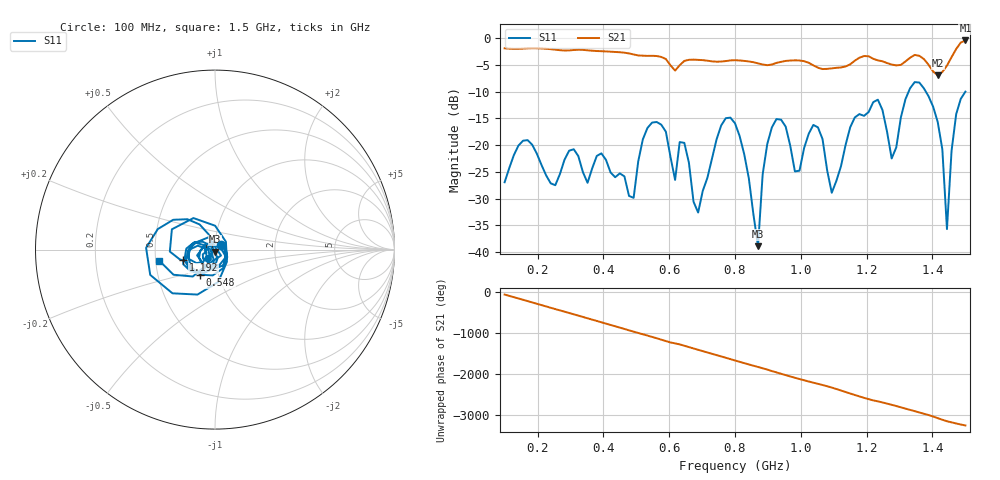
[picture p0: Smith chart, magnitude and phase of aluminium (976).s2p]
! NanoVNA-App
! Date: 2025-09-25 15:02:53
! Start: 100MHz Stop: 1,5GHz Points: 101
! S-Parameter data: F S11 S21 S12 S22
# Hz S RI R 50
!  Frequency  S11_Real  S11_Imag  S21_Real  S21_Imag  S12_Real  S12_Imag  S22_Real  S22_Imag
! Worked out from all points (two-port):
!   101 points, 100 MHz to 1.5 GHz, reference 50 ohm
!   highest |S21| = -0.45 dB at 1.5 GHz (marker M1); lowest = -7.0 dB at 1.416 GHz (marker M2)
!   |S21| within 3 dB of the highest: start of sweep to 569.2 MHz; 1.459 GHz to end of sweep (the widest 2 of 4)
!   lowest |S11| = -38.9 dB at 870 MHz (marker M3), VSWR 1.02, Z = 50.2 - j1.12 ohm
!   |S11| at or under -10 dB: start of sweep to 1.328 GHz; 1.38 GHz to end of sweep
!   S12 and S22 are empty: the file has one direction only
!   S11 on the Smith chart (normalised r, x): 100 MHz: 1.07, +0.06; 548 MHz: 0.82, -0.24; 1.192 GHz: 0.69, -0.09; 1.5 GHz: 0.52, -0.07
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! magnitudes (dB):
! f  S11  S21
! 100 MHz  -27.0  -1.9
! 156 MHz  -19.2  -2.0
! 338 MHz  -25.1  -2.2
! 492 MHz  -29.9  -3.1
! 548 MHz  -15.8  -3.3
! 576 MHz  -16.2  -3.5
! 646 MHz  -19.6  -4.3
! 688 MHz  -32.6  -4.1
! 800 MHz  -15.9  -4.1
! 870 MHz  -38.9  -4.7
! 912 MHz  -16.7  -4.9
! 982 MHz  -24.9  -4.2
! 1.038 GHz  -16.2  -5.1
! 1.094 GHz  -28.9  -5.7
! 1.192 GHz  -14.5  -3.4
! 1.234 GHz  -11.5  -4.2
! 1.276 GHz  -22.5  -5.0
! 1.346 GHz  -8.2  -3.1
! 1.416 GHz  -15.7  -7.0
! 1.444 GHz  -35.7  -5.2
! 1.472 GHz  -14.2  -2.0
! 1.5 GHz  -10.0  -0.4
